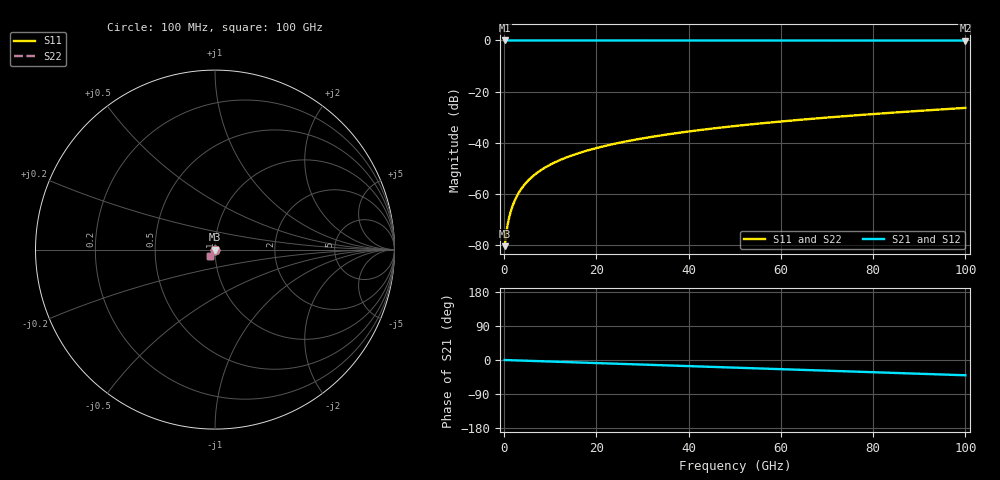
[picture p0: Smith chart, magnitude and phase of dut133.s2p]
! Touchstone file exported from HFSS 2026.1.0
!  File:  C:/ffzhzh/LocalFiles/Ansys_Project_Files/temp_train_TSV_133_1783506321_41296.aedt
!  Generated:  06:26:41 PM Jul  8, 2026
!  Design:  TSV
!  Project:  temp_train_TSV_133_1783506321_41296
! Variables:
!  h_bsmrdl = 2um
!  h_ox = 20um
!  h_rdl = 5um
!  h_sub = 80.43um
!  h_tmrdl = 5um
!  h_tsv = 80.43um
!  h_via = 3um
!  l_bsmrdl = 300um
!  l_sub = 424.72um
!  l_tmrdl = 200um
!  m_sub = 200um
!  pitch = 46.85um
!  r_tsv = 12.36um
!  s_tmrdl = 10um
!  w_bsmrdl = 18um
!  w_sub = 500um
!  w_tmrdl = 12um
!  x_tsv_center1 = 206um
!  x_tsv_center2 = 524um
!  x_tsv_center3 = 736um
!  x_tsv_center4 = 1054um
!  x_tsv_center5 = 1266um
!  x_tsv_center6 = 1584um
# GHz S MA R 50.000000
! Terminal data exported
! Port[1] = TSV1_1_T1
! Port[2] = TSV1_1_T2
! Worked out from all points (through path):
!   1000 points, 100 MHz to 100 GHz, reference 50 ohm
!   highest |S21| = 0.00 dB at 100 MHz (marker M1); lowest = 0.0 dB at 100 GHz (marker M2)
!   group delay of S21, straight-line fit = 1.12 ps
!   lowest |S11| = -80.5 dB at 100 MHz (marker M3), VSWR 1.00, Z = 50 + j0.000338 ohm
!   |S11| at or under -10 dB: start of sweep to end of sweep
!   |S22| runs from -80.5 to -26.4 dB; largest |S21 - S12| = 4.4e-15
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0.1  9.413e-05 2.1  0.9999 -0.0  0.9999 -0.0  9.413e-05 2.1
! Gamma 0 0 0 0
! Port Impedance 50 0 50 0
0.4  0.0001517 -8.0  0.9998 -0.2  0.9998 -0.2  0.0001517 -8.0
0.9  0.0002875 -33.7  0.9998 -0.4  0.9998 -0.4  0.0002875 -33.7
1.1  0.0003464 -40.6  0.9997 -0.5  0.9997 -0.5  0.0003464 -40.6
1.5  0.0004697 -50.0  0.9997 -0.6  0.9997 -0.6  0.0004696 -50.0
1.9  0.0005994 -56.0  0.9997 -0.8  0.9997 -0.8  0.0005994 -56.0
2.5  0.0008042 -61.8  0.9996 -1.0  0.9996 -1.0  0.0008042 -61.8
3.1  0.001019 -65.8  0.9996 -1.3  0.9996 -1.3  0.001019 -65.8
3.8  0.001277 -69.1  0.9995 -1.5  0.9995 -1.5  0.001277 -69.1
4.7  0.001618 -72.3  0.9995 -1.9  0.9995 -1.9  0.001618 -72.3
5.7  0.002003 -75.0  0.9994 -2.3  0.9994 -2.3  0.002003 -75.0
6.8  0.002432 -77.2  0.9993 -2.8  0.9993 -2.8  0.002432 -77.2
9.5  0.003505 -81.1  0.9992 -3.8  0.9992 -3.8  0.003505 -81.1
12.8  0.004847 -84.4  0.9991 -5.2  0.9991 -5.2  0.004847 -84.4
16.8  0.006499 -87.6  0.9989 -6.8  0.9989 -6.8  0.006499 -87.6
24.1  0.009572 -92.2  0.9987 -9.7  0.9987 -9.7  0.009572 -92.2
33.4  0.0136 -97.3  0.9984 -13.4  0.9984 -13.4  0.0136 -97.3
41.2  0.01708 -101.1  0.9982 -16.6  0.9982 -16.6  0.01708 -101.2
50.1  0.02118 -105.4  0.9979 -20.1  0.9979 -20.1  0.02118 -105.4
66.7  0.02928 -113.0  0.9974 -26.8  0.9974 -26.8  0.02928 -113.0
83.4  0.03815 -120.4  0.9968 -33.6  0.9968 -33.6  0.03815 -120.4
100  0.04789 -127.8  0.9959 -40.3  0.9959 -40.3  0.04789 -127.8
